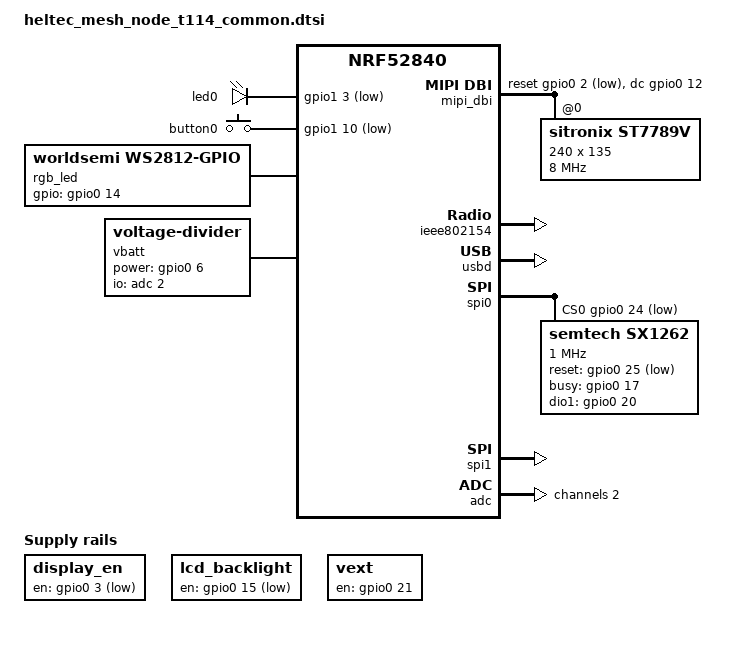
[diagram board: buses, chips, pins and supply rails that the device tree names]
/*
 * Copyright (c) 2026 Yeray Lois Sanchez
 *
 * SPDX-License-Identifier: Apache-2.0
 */

#include <nordic/nrf52840_qiaa.dtsi>
#include "heltec_mesh_node_t114-pinctrl.dtsi"
#include <zephyr/dt-bindings/input/input-event-codes.h>
#include <zephyr/dt-bindings/lora/sx126x.h>
#include <zephyr/dt-bindings/mipi_dbi/mipi_dbi.h>
#include <zephyr/dt-bindings/display/panel.h>
#include <zephyr/dt-bindings/led/led.h>

/ {
	chosen {
		zephyr,flash = &flash0;
		zephyr,sram = &sram0;
		zephyr,ieee802154 = &ieee802154;
		zephyr,display = &st7789v;
		zephyr,led-strip = &rgb_led;
	};

	leds {
		compatible = "gpio-leds";

		led0: led_0 {
			gpios = <&gpio1 3 GPIO_ACTIVE_LOW>;
		};
	};

	buttons {
		compatible = "gpio-keys";
		debounce-interval-ms = <50>;

		button0: button_0 {
			gpios = <&gpio1 10 (GPIO_PULL_UP | GPIO_ACTIVE_LOW)>;
			zephyr,code = <INPUT_KEY_0>;
		};
	};

	aliases {
		led0 = &led0;
		led-strip = &rgb_led;
		sw0 = &button0;
		watchdog0 = &wdt0;
		lora0 = &sx1262;
		display0 = &st7789v;
	};

	display_en: display_en {
		compatible = "regulator-fixed";
		regulator-name = "display-enable";
		enable-gpios = <&gpio0 3 GPIO_ACTIVE_LOW>;
		regulator-boot-on;
	};

	lcd_backlight: lcd_backlight {
		compatible = "regulator-fixed";
		regulator-name = "lcd-backlight";
		enable-gpios = <&gpio0 15 GPIO_ACTIVE_LOW>;
		regulator-boot-on;
	};

	rgb_led: rgb-led {
		compatible = "worldsemi,ws2812-gpio";
		gpios = <&gpio0 14 GPIO_ACTIVE_HIGH>;
		chain-length = <2>;
		color-mapping = <LED_COLOR_ID_GREEN
				 LED_COLOR_ID_RED
				 LED_COLOR_ID_BLUE>;
		/* nRF52840 lacks cpu@0 clock-frequency; explicit delays required */
		delay-t1h = <44>;
		delay-t1l = <38>;
		delay-t0h = <22>;
		delay-t0l = <51>;
		status = "okay";
	};

	vbatt {
		compatible = "voltage-divider";
		io-channels = <&adc 2>;
		output-ohms = <100000>;
		full-ohms = <490000>;
		power-gpios = <&gpio0 6 GPIO_ACTIVE_HIGH>;
	};

	vext {
		compatible = "regulator-fixed";
		regulator-name = "vext";
		enable-gpios = <&gpio0 21 GPIO_ACTIVE_HIGH>;
	};

	mipi_dbi {
		compatible = "zephyr,mipi-dbi-spi";
		spi-dev = <&spi1>;
		dc-gpios = <&gpio0 12 GPIO_ACTIVE_HIGH>;
		reset-gpios = <&gpio0 2 GPIO_ACTIVE_LOW>;
		write-only;
		#address-cells = <1>;
		#size-cells = <0>;
		status = "okay";

		st7789v: st7789v@0 {
			compatible = "sitronix,st7789v";
			reg = <0>;
			mipi-max-frequency = <8000000>;
			width = <240>;
			height = <135>;
			x-offset = <40>;
			y-offset = <53>;
			vcom = <0x19>;
			gctrl = <0x35>;
			vrhs = <0x12>;
			vdvs = <0x20>;
			mdac = <0x60>;
			gamma = <0x01>;
			/*
			 * The ST7789V panel on this board reads RGB565 pixels in
			 * big-endian order over SPI. RGB_565X makes the MIPI DBI
			 * layer and LVGL emit bytes MSB-first, which matches what
			 * the controller expects.
			 */
			pixel-format = <PANEL_PIXEL_FORMAT_RGB_565X>;
			lcm = <0x2c>;
			porch-param = [0c 0c 00 33 33];
			cmd2en-param = [5a 69 02 01];
			pwctrl1-param = [a4 a1];
			pvgam-param = [d0 04 0d 11 13 2b 3f 54 4c 18 0d 0b 1f 23];
			nvgam-param = [d0 04 0c 11 13 2c 3f 44 51 2f 1f 1f 20 23];
			ram-param = [00 f0];
			rgb-param = [14 14 14];
			mipi-mode = "MIPI_DBI_MODE_SPI_4WIRE";
			sitronix,skip-power-gamma-init;
			status = "okay";
		};
	};
};

&reg1 {
	regulator-initial-mode = <NRF5X_REG_MODE_DCDC>;
};

&uicr {
	gpio-as-nreset;
};

&gpiote {
	status = "okay";
};

&gpio0 {
	status = "okay";
};

&gpio1 {
	status = "okay";
};

&ieee802154 {
	status = "okay";
};

zephyr_udc0: &usbd {
	compatible = "nordic,nrf-usbd";
	status = "okay";
};

&spi0 {
	compatible = "nordic,nrf-spim";
	status = "okay";
	pinctrl-0 = <&spi0_default>;
	pinctrl-1 = <&spi0_sleep>;
	pinctrl-names = "default", "sleep";
	cs-gpios = <&gpio0 24 GPIO_ACTIVE_LOW>;

	sx1262: lora@0 {
		compatible = "semtech,sx1262";
		reg = <0>;
		spi-max-frequency = <1000000>;
		reset-gpios = <&gpio0 25 GPIO_ACTIVE_LOW>;
		busy-gpios = <&gpio0 17 GPIO_ACTIVE_HIGH>;
		dio1-gpios = <&gpio0 20 GPIO_ACTIVE_HIGH>;
		dio2-tx-enable;
		dio3-tcxo-voltage = <SX126X_DIO3_TCXO_1V8>;
		tcxo-power-startup-delay-ms = <5>;
		status = "okay";
	};
};

&spi1 {
	compatible = "nordic,nrf-spim";
	status = "okay";
	pinctrl-0 = <&spi1_default>;
	pinctrl-1 = <&spi1_sleep>;
	pinctrl-names = "default", "sleep";
	cs-gpios = <&gpio0 11 GPIO_ACTIVE_LOW>;
};

&i2c0 {
	compatible = "nordic,nrf-twi";
	status = "disabled";
	pinctrl-0 = <&i2c0_default>;
	pinctrl-1 = <&i2c0_sleep>;
	pinctrl-names = "default", "sleep";
};

&i2c1 {
	compatible = "nordic,nrf-twi";
	status = "disabled";
	pinctrl-0 = <&i2c1_default>;
	pinctrl-1 = <&i2c1_sleep>;
	pinctrl-names = "default", "sleep";
};

&uart1 {
	compatible = "nordic,nrf-uarte";
	status = "disabled";
	pinctrl-0 = <&uart1_default>;
	pinctrl-1 = <&uart1_sleep>;
	pinctrl-names = "default", "sleep";
};

&adc {
	status = "okay";
	#address-cells = <1>;
	#size-cells = <0>;

	channel@2 {
		reg = <2>;
		zephyr,gain = "ADC_GAIN_1_6";
		zephyr,reference = "ADC_REF_INTERNAL";
		zephyr,acquisition-time = <ADC_ACQ_TIME_DEFAULT>;
		zephyr,input-positive = <NRF_SAADC_AIN2>;
		zephyr,resolution = <12>;
	};
};

&qspi {
	status = "disabled";
	pinctrl-0 = <&qspi_default>;
	pinctrl-1 = <&qspi_sleep>;
	pinctrl-names = "default", "sleep";

	mx25r1635f: mx25r1635f@0 {
		compatible = "nordic,qspi-nor";
		reg = <0>;
		writeoc = "pp4io";
		readoc = "read4io";
		sck-frequency = <8000000>;
		jedec-id = [c2 28 15];
		size-in-bytes = <0x200000>;
		has-dpd;
		t-enter-dpd = <10000>;
		t-exit-dpd = <35000>;
	};
};
